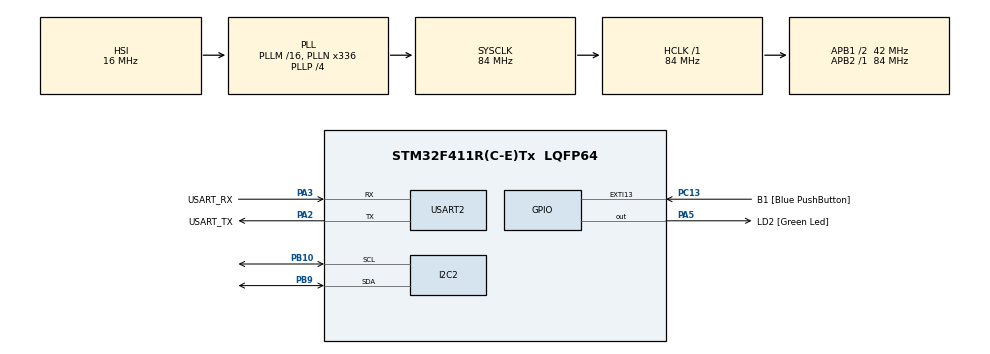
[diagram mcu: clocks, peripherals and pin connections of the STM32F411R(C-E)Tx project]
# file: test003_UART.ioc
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Mcu.Family=STM32F4
Mcu.Name=STM32F411R(C-E)Tx
Mcu.Package=LQFP64
NVIC.PriorityGroup=NVIC_PRIORITYGROUP_0
PA13.GPIO_Label=TMS
PA13.Mode=Serial_Wire
PA13.Signal=SYS_JTMS-SWDIO
PA14.GPIO_Label=TCK
PA14.Mode=Serial_Wire
PA14.Signal=SYS_JTCK-SWCLK
PA2.GPIO_Label=USART_TX
PA2.Mode=Asynchronous
PA2.Signal=USART2_TX
PA3.GPIO_Label=USART_RX
PA3.Mode=Asynchronous
PA3.Signal=USART2_RX
PA5.GPIO_Label=LD2 [Green Led]
PA5.Signal=GPIO_Output
PB10.Mode=I2C
PB10.Signal=I2C2_SCL
PB3.GPIO_Label=SWO
PB3.Signal=SYS_JTDO-SWO
PB9.Mode=I2C
PB9.Signal=I2C2_SDA
PC13-ANTI_TAMP.GPIO_Label=B1 [Blue PushButton]
PC13-ANTI_TAMP.GPIO_ModeDefaultEXTI=GPIO_MODE_IT_FALLING
PC13-ANTI_TAMP.Signal=GPXTI13
PC14-OSC32_IN.Mode=LSE-External-Oscillator
PC14-OSC32_IN.Signal=RCC_OSC32_IN
PC15-OSC32_OUT.Mode=LSE-External-Oscillator
PC15-OSC32_OUT.Signal=RCC_OSC32_OUT
PH0\ -\ OSC_IN.Mode=HSE-External-Clock-Source
PH0\ -\ OSC_IN.Signal=RCC_OSC_IN
PH1\ -\ OSC_OUT.Mode=HSE-External-Clock-Source
PH1\ -\ OSC_OUT.Signal=RCC_OSC_OUT
ProjectManager.HeapSize=0x200
ProjectManager.StackSize=0x400
ProjectManager.TargetToolchain=STM32CubeIDE
RCC.48MHZClocksFreq_Value=84000000
RCC.AHBFreq_Value=84000000
RCC.APB1CLKDivider=RCC_HCLK_DIV2
RCC.APB1Freq_Value=42000000
RCC.APB1TimFreq_Value=84000000
RCC.APB2Freq_Value=84000000
RCC.APB2TimFreq_Value=84000000
RCC.CortexFreq_Value=84000000
RCC.FLatency-AdvancedSettings=FLASH_LATENCY_2
RCC.HCLKFreq_Value=84000000
RCC.HSE_VALUE=8000000
RCC.HSI_VALUE=16000000
RCC.PLLN=336
RCC.PLLP=RCC_PLLP_DIV4
RCC.SYSCLKFreq_VALUE=84000000
RCC.SYSCLKSource=RCC_SYSCLKSOURCE_PLLCLK
RCC.VCOOutputFreq_Value=336000000
USART2.VirtualMode=VM_ASYNC
board=NUCLEO-F411RE

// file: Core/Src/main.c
/* USER CODE BEGIN Header */
/**
  ******************************************************************************
  * @file           : main.c
  * @brief          : Main program body
  ******************************************************************************
  * @attention
  *
  * Copyright (c) 2024 STMicroelectronics.
  * All rights reserved.
  *
  * This software is licensed under terms that can be found in the LICENSE file
  * in the root directory of this software component.
  * If no LICENSE file comes with this software, it is provided AS-IS.
  *
  ******************************************************************************
  */
/* USER CODE END Header */
#include "main.h"

/* USER CODE BEGIN Includes */
#include <stdio.h>
/* USER CODE END Includes */

I2C_HandleTypeDef hi2c2;

UART_HandleTypeDef huart2;

void SystemClock_Config(void);
static void MX_GPIO_Init(void);
static void MX_USART2_UART_Init(void);
static void MX_I2C2_Init(void);

int main(void)
{

  /* MCU Configuration--------------------------------------------------------*/

  /* Reset of all peripherals, Initializes the Flash interface and the Systick. */
  HAL_Init();

  /* Configure the system clock */
  SystemClock_Config();

  /* Initialize all configured peripherals */
  MX_GPIO_Init();
  MX_USART2_UART_Init();
  MX_I2C2_Init();
  /* USER CODE BEGIN 2 */
  i2c_init(&hi2c2);
  i2c_scan();
  HAL_Delay(100);
  lcd_init();
  HAL_Delay(10);
  lcd_print("Print");
  ProgramStart("UART");
  lcd_init();
  char val0[17];
  char val1[17];
  /* USER CODE END 2 */

  /* Infinite loop */
  /* USER CODE BEGIN WHILE */
  int count = 0;
  int val;
  while (1)
  {
	  printf("Input test number : ");
	  //printf("\033[A\033[20C");
	  //setvbuf(stdin, NULL, _IONBF, 0);	//scanf buffer clear
	  scanf("%d", &val);
	  sprintf(val0, "Number: %-8d", val);

//	  if(count > 1)
//	  {
//		  lcd_printEx(val1, 0);
//		  lcd_printEx(val0, 1);
//	  }
//	  else
//		  lcd_printEx(val0, count); HAL_Delay(100);
//	  (count > 1) ? lcd_printEx(val1, 0), lcd_printEx(val0, 1) : lcd_printEx(val0, count);
//	  HAL_Delay(100);
//	  count++;
//	  sprintf(val1, "Number: %-8d", val);
	  printf("Input number : %d \r\n\n", val);
	  lcd_printEx2(val0);

//	  double a = count++ / 3.14;
//	  printf("UART Test .... %6.2f\r\n", a);
    /* USER CODE END WHILE */

  }
}

void SystemClock_Config(void)
{
  RCC_OscInitTypeDef RCC_OscInitStruct = {0};
  RCC_ClkInitTypeDef RCC_ClkInitStruct = {0};

  /** Configure the main internal regulator output voltage
  */
  __HAL_RCC_PWR_CLK_ENABLE();
  __HAL_PWR_VOLTAGESCALING_CONFIG(PWR_REGULATOR_VOLTAGE_SCALE1);

  /** Initializes the RCC Oscillators according to the specified parameters
  * in the RCC_OscInitTypeDef structure.
  */
  RCC_OscInitStruct.OscillatorType = RCC_OSCILLATORTYPE_HSI;
  RCC_OscInitStruct.HSIState = RCC_HSI_ON;
  RCC_OscInitStruct.HSICalibrationValue = RCC_HSICALIBRATION_DEFAULT;
  RCC_OscInitStruct.PLL.PLLState = RCC_PLL_ON;
  RCC_OscInitStruct.PLL.PLLSource = RCC_PLLSOURCE_HSI;
  RCC_OscInitStruct.PLL.PLLM = 16;
  RCC_OscInitStruct.PLL.PLLN = 336;
  RCC_OscInitStruct.PLL.PLLP = RCC_PLLP_DIV4;
  RCC_OscInitStruct.PLL.PLLQ = 4;
  if (HAL_RCC_OscConfig(&RCC_OscInitStruct) != HAL_OK)
  {
    Error_Handler();
  }

  /** Initializes the CPU, AHB and APB buses clocks
  */
  RCC_ClkInitStruct.ClockType = RCC_CLOCKTYPE_HCLK|RCC_CLOCKTYPE_SYSCLK
                              |RCC_CLOCKTYPE_PCLK1|RCC_CLOCKTYPE_PCLK2;
  RCC_ClkInitStruct.SYSCLKSource = RCC_SYSCLKSOURCE_PLLCLK;
  RCC_ClkInitStruct.AHBCLKDivider = RCC_SYSCLK_DIV1;
  RCC_ClkInitStruct.APB1CLKDivider = RCC_HCLK_DIV2;
  RCC_ClkInitStruct.APB2CLKDivider = RCC_HCLK_DIV1;

  if (HAL_RCC_ClockConfig(&RCC_ClkInitStruct, FLASH_LATENCY_2) != HAL_OK)
  {
    Error_Handler();
  }
}

static void MX_I2C2_Init(void)
{

  hi2c2.Instance = I2C2;
  hi2c2.Init.ClockSpeed = 100000;
  hi2c2.Init.DutyCycle = I2C_DUTYCYCLE_2;
  hi2c2.Init.OwnAddress1 = 0;
  hi2c2.Init.AddressingMode = I2C_ADDRESSINGMODE_7BIT;
  hi2c2.Init.DualAddressMode = I2C_DUALADDRESS_DISABLE;
  hi2c2.Init.OwnAddress2 = 0;
  hi2c2.Init.GeneralCallMode = I2C_GENERALCALL_DISABLE;
  hi2c2.Init.NoStretchMode = I2C_NOSTRETCH_DISABLE;
  if (HAL_I2C_Init(&hi2c2) != HAL_OK)
  {
    Error_Handler();
  }

}

static void MX_USART2_UART_Init(void)
{

  huart2.Instance = USART2;
  huart2.Init.BaudRate = 115200;
  huart2.Init.WordLength = UART_WORDLENGTH_8B;
  huart2.Init.StopBits = UART_STOPBITS_1;
  huart2.Init.Parity = UART_PARITY_NONE;
  huart2.Init.Mode = UART_MODE_TX_RX;
  huart2.Init.HwFlowCtl = UART_HWCONTROL_NONE;
  huart2.Init.OverSampling = UART_OVERSAMPLING_16;
  if (HAL_UART_Init(&huart2) != HAL_OK)
  {
    Error_Handler();
  }

}

static void MX_GPIO_Init(void)
{
  GPIO_InitTypeDef GPIO_InitStruct = {0};

  /* GPIO Ports Clock Enable */
  __HAL_RCC_GPIOC_CLK_ENABLE();
  __HAL_RCC_GPIOH_CLK_ENABLE();
  __HAL_RCC_GPIOA_CLK_ENABLE();
  __HAL_RCC_GPIOB_CLK_ENABLE();

  /*Configure GPIO pin Output Level */
  HAL_GPIO_WritePin(LD2_GPIO_Port, LD2_Pin, GPIO_PIN_RESET);

  /*Configure GPIO pin : B1_Pin */
  GPIO_InitStruct.Pin = B1_Pin;
  GPIO_InitStruct.Mode = GPIO_MODE_IT_FALLING;
  GPIO_InitStruct.Pull = GPIO_NOPULL;
  HAL_GPIO_Init(B1_GPIO_Port, &GPIO_InitStruct);

  /*Configure GPIO pin : LD2_Pin */
  GPIO_InitStruct.Pin = LD2_Pin;
  GPIO_InitStruct.Mode = GPIO_MODE_OUTPUT_PP;
  GPIO_InitStruct.Pull = GPIO_NOPULL;
  GPIO_InitStruct.Speed = GPIO_SPEED_FREQ_LOW;
  HAL_GPIO_Init(LD2_GPIO_Port, &GPIO_InitStruct);

}

void Error_Handler(void)
{
  __disable_irq();
  while (1)
  {
  }
}
